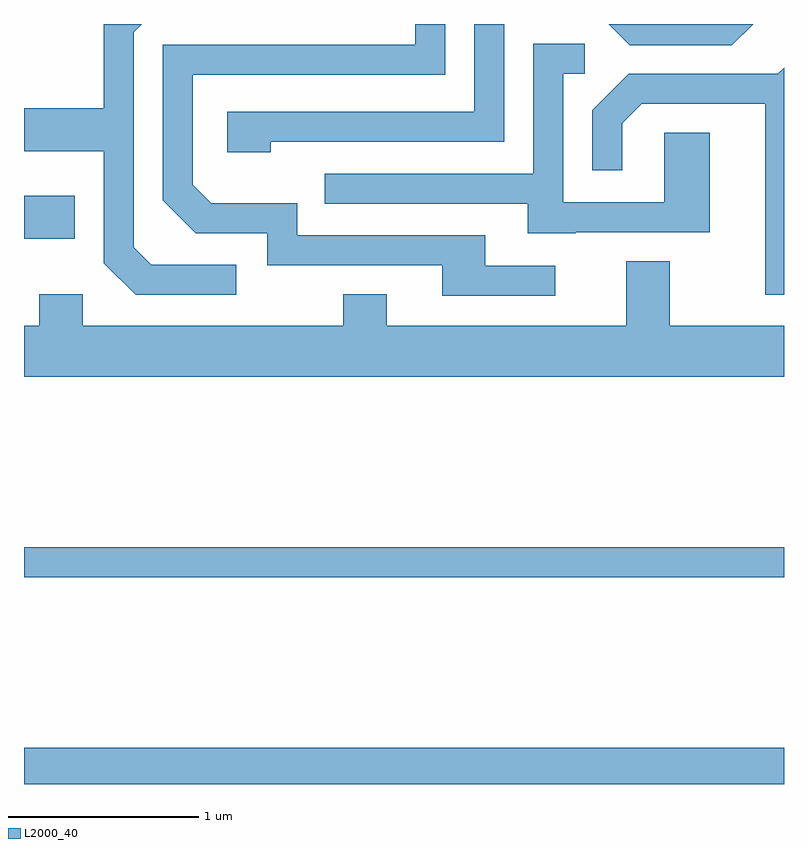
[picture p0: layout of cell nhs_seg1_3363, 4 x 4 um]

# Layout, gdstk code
import gdstk
lib = gdstk.Library(unit=1e-6, precision=1e-09)
def R(c, l, rs):  # rectangles x0, y0, x1, y1
    for r in rs: c.add(gdstk.rectangle(r[:2], r[2:], *l))
def P(c, l, *ps):  # polygons
    for p in ps: c.add(gdstk.Polygon(p, *l))
L2000_40 = (2000, 40)

nhs_seg1_3363 = lib.new_cell('nhs_seg1_3363')
R(nhs_seg1_3363, L2000_40, [(287.611,839.712,291.611,839.904), (287.611,840.801,291.611,840.959), (287.611,842.581,287.879,842.809)])
P(nhs_seg1_3363, L2000_40, [(288.728,842.444),(288.282,842.444),(288.189,842.537),(288.189,843.669),(288.232,843.712),(288.031,843.712),(288.031,843.269),(287.611,843.269),(287.611,843.041),(288.031,843.041),(288.031,842.454),(288.199,842.286),(288.728,842.286)],
  [(290.408,842.439),(290.039,842.439),(290.039,842.599),(289.049,842.599),(289.049,842.769),(288.597,842.769),(288.499,842.867),(288.499,843.446),(289.829,843.446),(289.829,843.712),(289.671,843.712),(289.671,843.604),(288.341,843.604),(288.341,842.784),(288.514,842.611),(288.891,842.611),(288.891,842.441),(289.811,842.441),(289.811,842.281),(290.408,842.281)],
  [(288.909,843.091),(290.139,843.091),(290.139,843.712),(289.981,843.712),(289.981,843.249),(288.681,843.249),(288.681,843.036),(288.909,843.036)],
  [(291.448,843.712),(290.688,843.712),(290.799,843.601),(291.337,843.601)],
  [(290.515,842.616),(291.219,842.616),(291.219,843.139),(290.981,843.139),(290.981,842.774),(290.449,842.774),(290.449,843.451),(290.563,843.451),(290.563,843.609),(290.291,843.609),(290.291,842.924),(289.193,842.924),(289.193,842.766),(290.261,842.766),(290.261,842.611),(290.515,842.611)],
  [(291.611,843.481),(291.579,843.449),(290.794,843.449),(290.601,843.257),(290.601,842.943),(290.759,842.943),(290.759,843.189),(290.862,843.291),(291.511,843.291),(291.511,842.286),(291.611,842.286)],
  [(291.611,842.124),(291.009,842.124),(291.009,842.464),(290.781,842.464),(290.781,842.124),(289.519,842.124),(289.519,842.289),(289.291,842.289),(289.291,842.124),(287.919,842.124),(287.919,842.289),(287.691,842.289),(287.691,842.124),(287.611,842.124),(287.611,841.856),(291.611,841.856)])

lib.write_gds('nhs_seg1_3363.gds')
